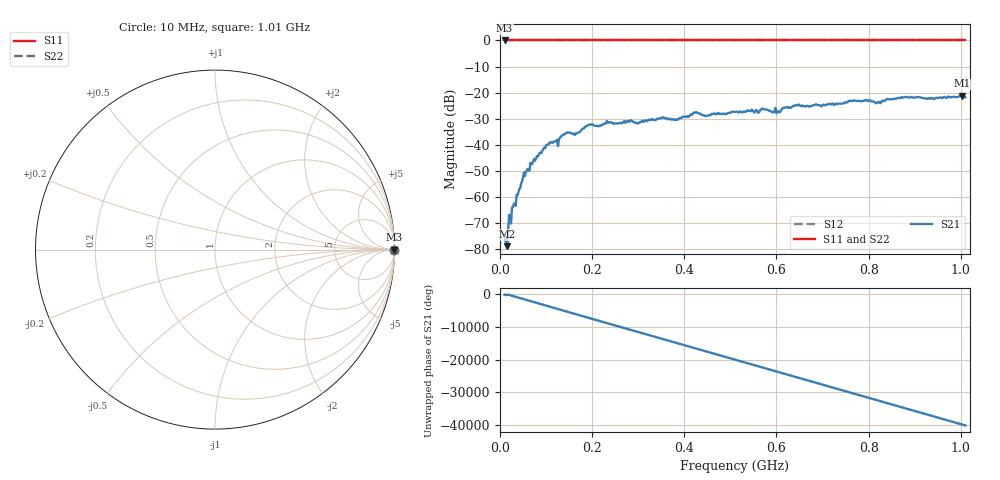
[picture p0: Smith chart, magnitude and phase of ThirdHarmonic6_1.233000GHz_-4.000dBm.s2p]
! 8/16/2025 1:01:53 PM
! C:\ANRITSUVNA\TEMP\TEMP.S2P
! CHANNEL.1
! TR.MEASUREMENT
! RAW.DATA
! RF.CORRECTION.OFF
! AVERAGING.OFF
! IF.BANDWIDTH: 5KHZ
! SWEEPTYPE:  FREQ.SWEEP(Linear)
! Reference Plane Port Info
! PORT:  PORT1  PORT2
! DISTANCE:  0  m  0  m
! TIME:  0  s  0  s
! PHASE.OFFSET:  0  deg.  0  deg.
! LOSS:  0  dB  0  dB
! REF.LOSS:  0  dB  0  dB
! REF.FREQ:  0  Hz  0  Hz
! Power Info
! POWER:  -20  dBm  -20  dBm
! EFF.POWER:  -20  dBm  -20  dBm
! SOURCE.ATTEN:  0  dB  0  dB
! TEST.ATTEN:  0  dB  0  dB
# GHZ S RI R 50.0
! FREQ.GHZ  S11RE  S11IM  S21RE  S21IM  S12RE  S12IM  S22RE  S22IM
!; PortSelection: Port_12
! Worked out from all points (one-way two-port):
!   501 points, 10 MHz to 1.01 GHz, reference 50 ohm
!   highest |S21| = -21.23 dB at 1.002 GHz (marker M1); lowest = -78.9 dB at 16 MHz (marker M2)
!   lowest |S11| = 0.0 dB at 10 MHz (marker M3)
!   |S11| at or under -10 dB: nowhere
!   |S22| runs from 0.0 to 0.0 dB; largest |S21 - S12| = 1.1
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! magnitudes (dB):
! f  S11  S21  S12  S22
! 10 MHz  0.0  -74.1  0.0  0.0
! 12 MHz  0.0  -77.1  0.0  0.0
! 16 MHz  0.0  -78.9  0.0  0.0
! 24 MHz  0.0  -70.2  0.0  0.0
! 48 MHz  0.0  -54.0  0.0  0.0
! 70 MHz  0.0  -47.3  0.0  0.0
! 106 MHz  0.0  -39.8  0.0  0.0
! 124 MHz  0.0  -38.1  0.0  0.0
! 142 MHz  0.0  -35.7  0.0  0.0
! 178 MHz  0.0  -34.0  0.0  0.0
! 196 MHz  0.0  -32.3  0.0  0.0
! 344 MHz  0.0  -30.1  0.0  0.0
! 382 MHz  0.0  -30.2  0.0  0.0
! 424 MHz  0.0  -27.6  0.0  0.0
! 510 MHz  0.0  -27.4  0.0  0.0
! 572 MHz  0.0  -26.4  0.0  0.0
! 604 MHz  0.0  -27.2  0.0  0.0
! 644 MHz  0.0  -24.8  0.0  0.0
! 678 MHz  0.0  -25.0  0.0  0.0
! 844 MHz  0.0  -22.6  0.0  0.0
! 1.002 GHz  0.0  -21.2  0.0  0.0
! 1.01 GHz  0.0  -21.8  0.0  0.0
